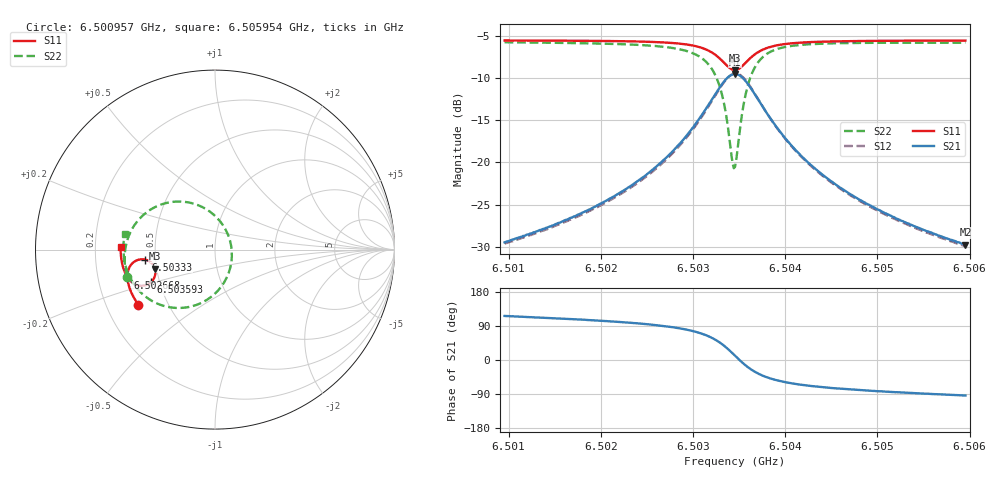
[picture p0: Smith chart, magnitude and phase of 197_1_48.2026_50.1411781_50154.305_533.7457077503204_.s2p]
#  HZ  S  RI  R  50.00
! Rohde & Schwarz Vector Network Analyzer
! Rohde-Schwarz,ZNB20-2Port,1311601062101988,3.16
! Created: UTC 3/20/2024, 11:44:52 AM
! freq[Hz]  re:S11  im:S11  re:S21  im:S21  re:S12  im:S12  re:S22  im:S22
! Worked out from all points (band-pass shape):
!   401 points, 6.500957 GHz to 6.505954 GHz, reference 50 ohm
!   highest |S21| = -9.54 dB at 6.503455 GHz (marker M1); lowest = -29.7 dB at 6.505954 GHz (marker M2)
!   |S21| within 3 dB of the highest: 6.503205 GHz to 6.503705 GHz (500.2 kHz wide, 0.00769 % of centre)
!   lowest |S11| = -9.1 dB at 6.503455 GHz (marker M3), VSWR 2.08, Z = 24.4 - j5.9 ohm
!   |S11| at or under -10 dB: nowhere
!   |S22| runs from -20.7 to -5.8 dB; largest |S21 - S12| = 0.012
!   S11 on the Smith chart (normalised r, x): 6.500957 GHz: 0.34, -0.29; 6.502668 GHz: 0.33, -0.14; 6.50333 GHz: 0.44, -0.06; 6.503593 GHz: 0.45, -0.19; 6.505954 GHz: 0.31, +0.01
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6.5009566e9  -0.4267 -0.3086  -0.0149 0.0302  -0.0131 0.0303  -0.4901 -0.1534
6.5017937e9  -0.4625 -0.2466  -0.0143 0.0481  -0.0118 0.0476  -0.5031 -0.0642
6.502256e9  -0.4787 -0.2054  -0.0112 0.0678  -0.0082 0.0666  -0.4999 0.00192
6.5026308e9  -0.4874 -0.1638  -0.00211 0.0974  0.00164 0.095  -0.48 0.0772
6.5026683e9  -0.4879 -0.159  -0.00027 0.1017  0.00339 0.099  -0.4761 0.0868
6.5029431e9  -0.4837 -0.116  0.0268 0.1444  0.0306 0.14  -0.4196 0.1729
6.5031306e9  -0.4619 -0.0778  0.0817 0.1867  0.0842 0.1806  -0.3146 0.2456
6.503243e9  -0.4289 -0.0571  0.1517 0.2043  0.1525 0.1978  -0.1883 0.2674
6.5033305e9  -0.3879 -0.0558  0.2321 0.1874  0.2325 0.1824  -0.0496 0.2256
6.5034179e9  -0.3459 -0.0842  0.3092 0.114  0.3117 0.1092  0.0733 0.0809
6.5034429e9  -0.338 -0.0983  0.3225 0.0826  0.3254 0.0772  0.0897 0.022
6.5034554e9  -0.3352 -0.1059  0.3267 0.066  0.3301 0.0599  0.0936 -0.00904
6.5034804e9  -0.3323 -0.1218  0.3302 0.0318  0.3339 0.0247  0.0911 -0.0715
6.5035429e9  -0.3397 -0.1596  0.3112 -0.0468  0.3134 -0.057  0.0336 -0.2081
6.5035928e9  -0.3564 -0.1816  0.2772 -0.0927  0.2767 -0.104  -0.0443 -0.2793
6.5037053e9  -0.4012 -0.201  0.1917 -0.1374  0.1862 -0.147  -0.217 -0.325
6.5038677e9  -0.4478 -0.1914  0.1091 -0.1338  0.1022 -0.1389  -0.3656 -0.2771
6.5040426e9  -0.4753 -0.1701  0.0643 -0.1134  0.058 -0.1156  -0.4382 -0.2115
6.5042925e9  -0.4961 -0.1402  0.0343 -0.0888  0.0292 -0.0892  -0.4817 -0.1388
6.5046424e9  -0.5108 -0.1034  0.0159 -0.0664  0.0125 -0.0661  -0.5035 -0.068
6.5051296e9  -0.521 -0.058  0.00502 -0.0485  0.00271 -0.0477  -0.5104 0.00224
6.5059542e9  -0.5259 0.012  -0.00213 -0.0326  -0.00335 -0.0318  -0.5025 0.0897
